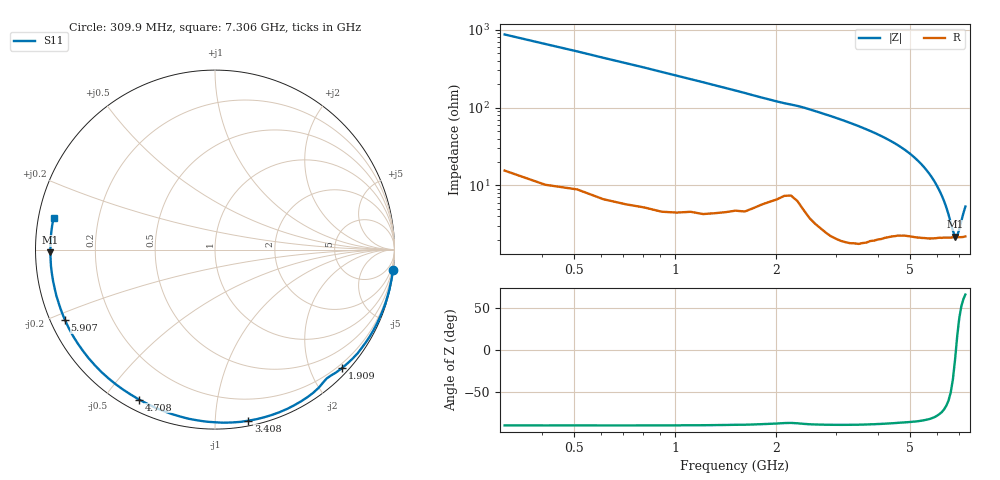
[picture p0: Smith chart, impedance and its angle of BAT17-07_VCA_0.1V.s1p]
! Infineon Technologies  Discrete & RF Semiconductors
! BAT17-07
! VCA = 0.1 V
! One-Port S-Parameters
# Hz  S  MA  R  50
!f  S11
!Hz  Mag  Ang
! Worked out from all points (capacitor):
!   71 points, 309.9 MHz to 7.306 GHz, reference 50 ohm
!   read as one part to ground: C = 590 fF near 309.9 MHz
!   lowest |Z| = 2.2 ohm at 6.807 GHz (marker M1)
!   series resonance near 6.847 GHz, so ESL is about 920 pH
!   S11 on the Smith chart (normalised r, x): 309.9 MHz: 0, -17; 1.909 GHz: 0.12, -2.53; 3.408 GHz: 0.04, -1.21; 4.708 GHz: 0.05, -0.61; 5.907 GHz: 0.04, -0.22; 7.306 GHz: 0.04, +0.10
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3.0985e8  0.998 -6.6
8.096e8  0.9952 -17.4
1.2094e9  0.991 -26.6
1.6092e9  0.9825 -36.0
1.90905e9  0.9673 -43.1
2.10895e9  0.9536 -47.4
2.30885e9  0.9546 -50.9
2.50875e9  0.9675 -55.6
2.8086e9  0.9733 -63.2
3.0085e9  0.9744 -68.3
3.2084e9  0.9736 -73.6
3.4083e9  0.9713 -78.9
3.6082e9  0.9677 -84.5
3.8081e9  0.9621 -90.1
4.008e9  0.9565 -95.8
4.2079e9  0.9503 -101.6
4.50775e9  0.9415 -110.6
4.70765e9  0.9365 -116.9
4.90755e9  0.9331 -123.2
5.10745e9  0.9311 -129.6
5.4073e9  0.9284 -139.3
5.6072e9  0.9265 -145.8
5.90705e9  0.9234 -154.9
6.2069e9  0.9204 -163.7
6.50675e9  0.9185 -171.6
6.8066e9  0.9174 -179.0
7.10645e9  0.9173 173.7
7.30635e9  0.9161 168.9
